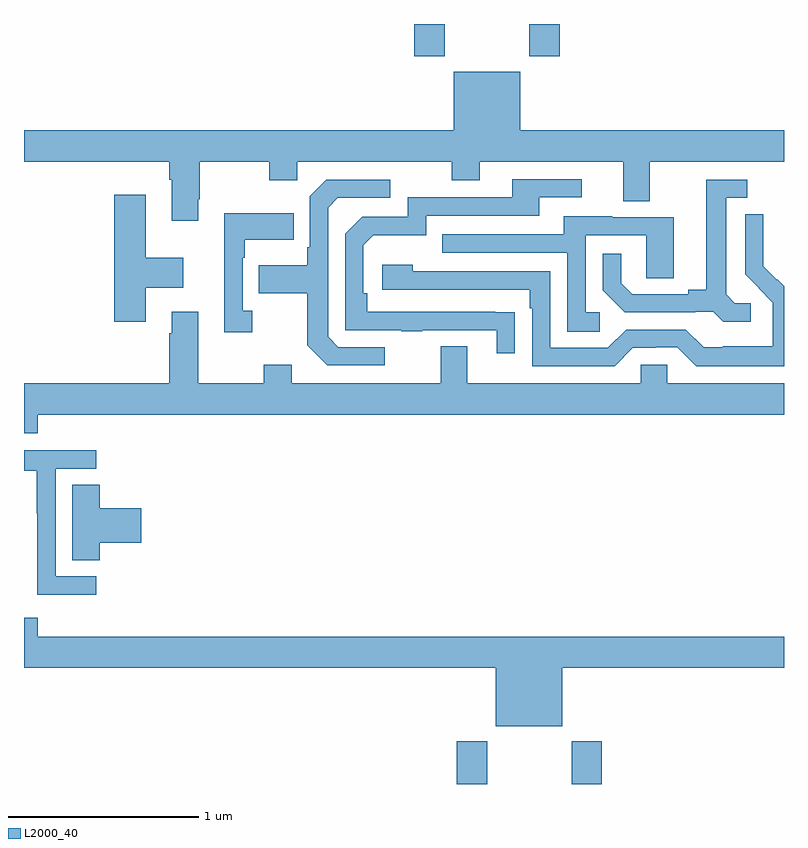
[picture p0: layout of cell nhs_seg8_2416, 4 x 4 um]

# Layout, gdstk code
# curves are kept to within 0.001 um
import gdstk
lib = gdstk.Library(unit=1e-6, precision=1e-09)
def R(c, l, rs):  # rectangles x0, y0, x1, y1
    for r in rs: c.add(gdstk.rectangle(r[:2], r[2:], *l))
def P(c, l, *ps):  # polygons
    for p in ps: c.add(gdstk.Polygon(p, *l))
L2000_40 = (2000, 40)

nhs_seg8_2416 = lib.new_cell('nhs_seg8_2416')
R(nhs_seg8_2416, L2000_40, [(265.277,1103.9,265.437,1104.124), (265.882,1103.9,266.042,1104.124), (265.055,1107.729,265.215,1107.9), (265.66,1107.729,265.82,1107.9)])
P(nhs_seg8_2416, L2000_40, [(263,1107.176),(263.765,1107.176),(263.765,1107.08),(263.777,1107.08),(263.777,1106.865),(263.917,1106.865),(263.917,1106.977),(263.925,1106.977),(263.925,1107.176),(264.292,1107.176),(264.292,1107.077),(264.438,1107.077),(264.438,1107.176),(265.252,1107.176),(265.252,1107.077),(265.399,1107.077),(265.399,1107.176),(266.153,1107.176),(266.153,1106.968),(266.293,1106.968),(266.293,1107.176),(267,1107.176),(267,1107.34),(265.612,1107.34),(265.612,1107.649),(265.262,1107.649),(265.262,1107.34),(263,1107.34)],
  [(265.583,1106.384),(264.806,1106.385),(264.806,1106.482),(264.786,1106.482),(264.786,1106.736),(264.839,1106.789),(265.116,1106.789),(265.116,1106.892),(265.711,1106.892),(265.711,1106.988),(265.936,1106.988),(265.936,1107.084),(265.571,1107.084),(265.571,1106.988),(265.02,1106.988),(265.02,1106.886),(264.78,1106.886),(264.69,1106.796),(264.69,1106.289),(264.985,1106.289),(264.985,1106.284),(265.097,1106.284),(265.097,1106.289),(265.487,1106.289),(265.487,1106.166),(265.583,1106.166)],
  [(266.824,1106.43),(266.742,1106.43),(266.695,1106.477),(266.695,1106.985),(266.806,1106.985),(266.806,1107.081),(266.591,1107.081),(266.591,1106.501),(266.495,1106.501),(266.495,1106.478),(266.2,1106.478),(266.143,1106.535),(266.143,1106.692),(266.046,1106.692),(266.046,1106.498),(266.162,1106.382),(266.534,1106.382),(266.534,1106.385),(266.628,1106.385),(266.68,1106.333),(266.824,1106.333)],
  [(264.898,1106.199),(264.654,1106.199),(264.6,1106.253),(264.6,1106.934),(264.651,1106.985),(264.928,1106.985),(264.928,1107.081),(264.591,1107.081),(264.504,1106.994),(264.504,1106.725),(264.492,1106.725),(264.492,1106.629),(264.235,1106.629),(264.235,1106.482),(264.492,1106.482),(264.492,1106.209),(264.597,1106.103),(264.898,1106.103)],
  [(263.641,1106.513),(263.839,1106.513),(263.839,1106.671),(263.641,1106.671),(263.641,1107.001),(263.474,1107.001),(263.474,1106.334),(263.641,1106.334)],
  [(264.202,1106.39),(264.15,1106.39),(264.15,1106.669),(264.163,1106.669),(264.163,1106.765),(264.419,1106.765),(264.419,1106.905),(264.053,1106.905),(264.053,1106.277),(264.202,1106.277)],
  [(267,1106.52),(266.964,1106.556),(266.961,1106.553),(266.891,1106.624),(266.892,1106.9),(266.796,1106.9),(266.796,1106.582),(266.942,1106.434),(266.942,1106.337),(266.94,1106.337),(266.94,1106.203),(266.677,1106.203),(266.677,1106.199),(266.577,1106.199),(266.484,1106.292),(266.169,1106.292),(266.073,1106.196),(265.77,1106.196),(265.77,1106.598),(265.046,1106.598),(265.046,1106.632),(264.885,1106.632),(264.885,1106.502),(265.661,1106.502),(265.661,1106.405),(265.674,1106.405),(265.674,1106.1),(266.109,1106.1),(266.205,1106.196),(266.324,1106.196),(266.324,1106.199),(266.439,1106.199),(266.539,1106.099),(267,1106.099)],
  [(266.029,1106.382),(265.956,1106.382),(265.956,1106.787),(266.274,1106.787),(266.274,1106.563),(266.419,1106.563),(266.419,1106.883),(266.095,1106.883),(266.095,1106.887),(265.841,1106.887),(265.841,1106.793),(265.201,1106.793),(265.201,1106.697),(265.86,1106.697),(265.86,1106.281),(266.029,1106.281)],
  [(263.072,1105.844),(267,1105.844),(267,1106.008),(266.385,1106.008),(266.385,1106.106),(266.247,1106.106),(266.247,1106.008),(265.333,1106.008),(265.333,1106.203),(265.193,1106.203),(265.193,1106.008),(264.409,1106.008),(264.409,1106.107),(264.262,1106.107),(264.262,1106.008),(263.917,1106.008),(263.917,1106.386),(263.777,1106.386),(263.777,1106.273),(263.765,1106.273),(263.765,1106.008),(263,1106.008),(263,1105.745),(263.072,1105.745)],
  [(263.38,1104.993),(263.166,1104.993),(263.166,1105.56),(263.38,1105.56),(263.38,1105.656),(263,1105.656),(263,1105.548),(263.068,1105.548),(263.068,1105.324),(263.07,1105.324),(263.07,1104.895),(263.38,1104.895)],
  [(263.399,1105.169),(263.617,1105.169),(263.617,1105.352),(263.399,1105.352),(263.399,1105.475),(263.255,1105.475),(263.255,1105.078),(263.399,1105.078)],
  [(265.834,1104.512),(267,1104.512),(267,1104.676),(263.072,1104.676),(263.072,1104.775),(263,1104.775),(263,1104.512),(265.484,1104.512),(265.484,1104.203),(265.834,1104.203)])

lib.write_gds('nhs_seg8_2416.gds')
